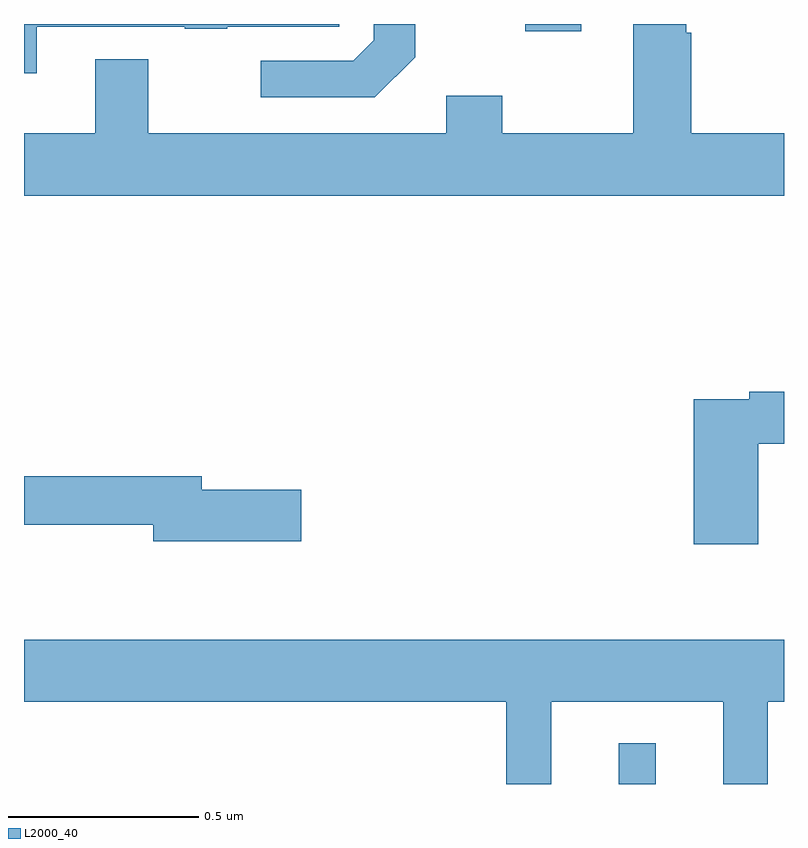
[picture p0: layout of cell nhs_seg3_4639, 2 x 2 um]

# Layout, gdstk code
import gdstk
lib = gdstk.Library(unit=1e-6, precision=1e-09)
def R(c, l, rs):  # rectangles x0, y0, x1, y1
    for r in rs: c.add(gdstk.rectangle(r[:2], r[2:], *l))
def P(c, l, *ps):  # polygons
    for p in ps: c.add(gdstk.Polygon(p, *l))
L2000_40 = (2000, 40)

nhs_seg3_4639 = lib.new_cell('nhs_seg3_4639')
R(nhs_seg3_4639, L2000_40, [(170.565,667.4,170.662,667.507), (170.319,669.381,170.467,669.4)])
P(nhs_seg3_4639, L2000_40, [(171,669.112),(170.756,669.112),(170.756,669.377),(170.743,669.377),(170.743,669.4),(170.603,669.4),(170.603,669.112),(170.259,669.112),(170.259,669.211),(170.111,669.211),(170.111,669.112),(169.327,669.112),(169.327,669.307),(169.187,669.307),(169.187,669.112),(169,669.112),(169,668.948),(171,668.948)],
  [(170.029,669.313),(170.029,669.4),(169.92,669.4),(169.92,669.357),(169.866,669.303),(169.623,669.303),(169.623,669.207),(169.923,669.207)],
  [(169.033,669.393),(169.423,669.393),(169.423,669.388),(169.535,669.388),(169.535,669.393),(169.83,669.393),(169.83,669.4),(169,669.4),(169,669.27),(169.033,669.27)],
  [(170.932,668.296),(171,668.296),(171,668.432),(170.908,668.432),(170.908,668.412),(170.762,668.412),(170.762,668.031),(170.932,668.031)],
  [(169.729,668.174),(169.468,668.174),(169.468,668.21),(169,668.21),(169,668.082),(169.34,668.082),(169.34,668.039),(169.729,668.039)],
  [(170.387,667.616),(170.84,667.616),(170.84,667.4),(170.957,667.4),(170.957,667.616),(171,667.616),(171,667.78),(169,667.78),(169,667.616),(170.269,667.616),(170.269,667.4),(170.387,667.4)])

lib.write_gds('nhs_seg3_4639.gds')
